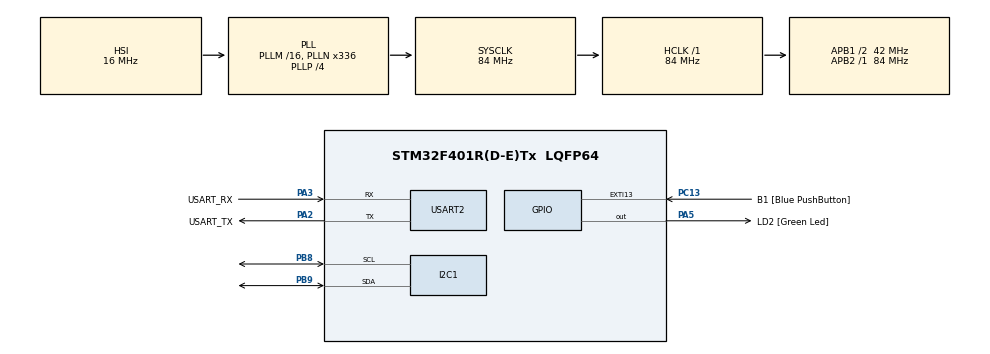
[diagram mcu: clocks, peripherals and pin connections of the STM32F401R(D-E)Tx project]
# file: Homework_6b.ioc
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Dma.Request0=USART2_TX
Dma.USART2_TX.0.Direction=DMA_MEMORY_TO_PERIPH
Dma.USART2_TX.0.FIFOMode=DMA_FIFOMODE_DISABLE
Dma.USART2_TX.0.Instance=DMA1_Stream6
Dma.USART2_TX.0.MemDataAlignment=DMA_MDATAALIGN_BYTE
Dma.USART2_TX.0.MemInc=DMA_MINC_ENABLE
Dma.USART2_TX.0.Mode=DMA_NORMAL
Dma.USART2_TX.0.PeriphDataAlignment=DMA_PDATAALIGN_BYTE
Dma.USART2_TX.0.PeriphInc=DMA_PINC_DISABLE
Dma.USART2_TX.0.Priority=DMA_PRIORITY_LOW
Mcu.Family=STM32F4
Mcu.Name=STM32F401R(D-E)Tx
Mcu.Package=LQFP64
NVIC.DMA1_Stream6_IRQn=true\:0\:0\:false\:false\:true\:false\:true\:true
NVIC.PriorityGroup=NVIC_PRIORITYGROUP_0
NVIC.TIM2_IRQn=true\:0\:0\:false\:false\:true\:true\:true\:true
NVIC.USART2_IRQn=true\:0\:0\:false\:false\:true\:true\:true\:true
PA13.GPIO_Label=TMS
PA13.Mode=Serial_Wire
PA13.Signal=SYS_JTMS-SWDIO
PA14.GPIO_Label=TCK
PA14.Mode=Serial_Wire
PA14.Signal=SYS_JTCK-SWCLK
PA2.GPIO_Label=USART_TX
PA2.GPIO_Mode=GPIO_MODE_AF_PP
PA2.GPIO_PuPd=GPIO_NOPULL
PA2.GPIO_Speed=GPIO_SPEED_FREQ_LOW
PA2.Mode=Asynchronous
PA2.Signal=USART2_TX
PA3.GPIO_Label=USART_RX
PA3.GPIO_Mode=GPIO_MODE_AF_PP
PA3.GPIO_PuPd=GPIO_NOPULL
PA3.GPIO_Speed=GPIO_SPEED_FREQ_LOW
PA3.Mode=Asynchronous
PA3.Signal=USART2_RX
PA5.GPIO_Label=LD2 [Green Led]
PA5.GPIO_Mode=GPIO_MODE_OUTPUT_PP
PA5.GPIO_PuPd=GPIO_NOPULL
PA5.GPIO_Speed=GPIO_SPEED_FREQ_LOW
PA5.Signal=GPIO_Output
PB3.GPIO_Label=SWO
PB3.Signal=SYS_JTDO-SWO
PB8.Mode=I2C
PB8.Signal=I2C1_SCL
PB9.Mode=I2C
PB9.Signal=I2C1_SDA
PC13-ANTI_TAMP.GPIO_Label=B1 [Blue PushButton]
PC13-ANTI_TAMP.GPIO_ModeDefaultEXTI=GPIO_MODE_IT_FALLING
PC13-ANTI_TAMP.GPIO_PuPd=GPIO_NOPULL
PC13-ANTI_TAMP.Signal=GPXTI13
PC14-OSC32_IN.Mode=LSE-External-Oscillator
PC14-OSC32_IN.Signal=RCC_OSC32_IN
PC15-OSC32_OUT.Mode=LSE-External-Oscillator
PC15-OSC32_OUT.Signal=RCC_OSC32_OUT
PH0\ -\ OSC_IN.Mode=HSE-External-Clock-Source
PH0\ -\ OSC_IN.Signal=RCC_OSC_IN
PH1\ -\ OSC_OUT.Mode=HSE-External-Clock-Source
PH1\ -\ OSC_OUT.Signal=RCC_OSC_OUT
ProjectManager.HeapSize=0x200
ProjectManager.StackSize=0x400
ProjectManager.TargetToolchain=STM32CubeIDE
RCC.48MHZClocksFreq_Value=48000000
RCC.AHBFreq_Value=84000000
RCC.APB1CLKDivider=RCC_HCLK_DIV2
RCC.APB1Freq_Value=42000000
RCC.APB1TimFreq_Value=84000000
RCC.APB2Freq_Value=84000000
RCC.APB2TimFreq_Value=84000000
RCC.CortexFreq_Value=84000000
RCC.HCLKFreq_Value=84000000
RCC.HSE_VALUE=8000000
RCC.HSI_VALUE=16000000
RCC.PLLN=336
RCC.PLLP=RCC_PLLP_DIV4
RCC.PLLQ=7
RCC.SYSCLKFreq_VALUE=84000000
RCC.SYSCLKSource=RCC_SYSCLKSOURCE_PLLCLK
RCC.VCOOutputFreq_Value=336000000
TIM2.Period=10000-1
TIM2.Prescaler=8400-1
USART2.VirtualMode=VM_ASYNC
VP_TIM2_VS_ClockSourceINT.Mode=Internal
board=NUCLEO-F401RE

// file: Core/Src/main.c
/* USER CODE BEGIN Header */
/**
  ******************************************************************************
  * @file           : main.c
  * @brief          : Main program body
  ******************************************************************************
  * @attention
  *
  * Copyright (c) 2023 STMicroelectronics.
  * All rights reserved.
  *
  * This software is licensed under terms that can be found in the LICENSE file
  * in the root directory of this software component.
  * If no LICENSE file comes with this software, it is provided AS-IS.
  *
  ******************************************************************************
  */
/* USER CODE END Header */
#include "main.h"

/* USER CODE BEGIN Includes */
# include "stdio.h"
/* USER CODE END Includes */

I2C_HandleTypeDef hi2c1;

TIM_HandleTypeDef htim2;

UART_HandleTypeDef huart2;
DMA_HandleTypeDef hdma_usart2_tx;

/* USER CODE BEGIN PV */
//LIS2DE
uint8_t ACCEL_ADD= 0b01010000;

//LIS2DE12
uint8_t LIS2DE12_ADD= 0b00110000;

//reg address,1Hz+normal mode+XYZ enabled
uint8_t CTRL_REG1[]={0x20,0b00010111};

//reg address,no HPF(default value at startup)
uint8_t CTRL_REG2[]={0x21,0b00000000};

//reg address,continuous update +2g FSR + self test disabled (default value at startup)
uint8_t CTRL_REG4[]={0x23,0b00000000};

uint8_t OUT_X_ADD=0x29;
uint8_t OUT_Y_ADD=0x2B;
uint8_t OUT_Z_ADD=0x2D;

char str[64];
int len=0;
/* USER CODE END PV */

void SystemClock_Config(void);
static void MX_GPIO_Init(void);
static void MX_DMA_Init(void);
static void MX_USART2_UART_Init(void);
static void MX_I2C1_Init(void);
static void MX_TIM2_Init(void);

/* USER CODE BEGIN 0 */
void HAL_TIM_PeriodElapsedCallback(TIM_HandleTypeDef *htim){
	if (htim==&htim2){
		//Get X
		int8_t acc_x=0;
		HAL_I2C_Master_Transmit(&hi2c1, ACCEL_ADD, &OUT_X_ADD, 1, 50);//I tell the variable i want to read
		HAL_I2C_Master_Receive(&hi2c1, ACCEL_ADD+1, (uint8_t *)&acc_x, 1, 50);

		//Get Y
		int8_t acc_y=0;
		HAL_I2C_Master_Transmit(&hi2c1, ACCEL_ADD, &OUT_Y_ADD, 1, 50);//I tell the variable i want to read
		HAL_I2C_Master_Receive(&hi2c1, ACCEL_ADD+1, (uint8_t *)&acc_y, 1, 50);

		//Get Z
		int8_t acc_z=0;
		HAL_I2C_Master_Transmit(&hi2c1, ACCEL_ADD, &OUT_Z_ADD, 1, 50);//I tell the variable i want to read
		HAL_I2C_Master_Receive(&hi2c1, ACCEL_ADD+1, (uint8_t *)&acc_z, 1, 50);

		//the resolution is 4/256
		float acc_g_x=acc_x/64.0;
		float acc_g_y=acc_y/64.0;
		float acc_g_z=acc_z/64.0;

		len=snprintf(str,sizeof(str),"X:%+.2f g\r\nY:%+.2f g\r\nZ:%+.2f g\r\n",acc_g_x,acc_g_y,acc_g_z);//+ says we want the sign printed

		HAL_UART_Transmit_DMA(&huart2, (uint8_t *) str, len);
	}
}
/* USER CODE END 0 */

int main(void)
{

  /* MCU Configuration--------------------------------------------------------*/

  /* Reset of all peripherals, Initializes the Flash interface and the Systick. */
  HAL_Init();

  /* Configure the system clock */
  SystemClock_Config();

  /* Initialize all configured peripherals */
  MX_GPIO_Init();
  MX_DMA_Init();
  MX_USART2_UART_Init();
  MX_I2C1_Init();
  MX_TIM2_Init();
  /* USER CODE BEGIN 2 */

  //initialize accelerometer

  if(HAL_I2C_Master_Transmit(&hi2c1, ACCEL_ADD, CTRL_REG1, sizeof(CTRL_REG1), 50)==HAL_OK){
	  len=snprintf(str,sizeof(str),"LIS2DE FOUND\r\n");
	  //there is a device with LIS2DE address
  }
  else{
	  //if not we change the address to the one of LIS2DE12 and try again
	  ACCEL_ADD=LIS2DE12_ADD;
	  if(HAL_I2C_Master_Transmit(&hi2c1, ACCEL_ADD, CTRL_REG1, sizeof(CTRL_REG1), 50)==HAL_OK){
		  len=snprintf(str,sizeof(str),"LIS2DE12 FOUND\r\n");
		  //there is a device with LIS2DE12 address
	  }
	  else{
		  len=snprintf(str,sizeof(str),"Accelerometer ERROR found\r\n");
		  //nothing found
	  }
  }

  HAL_UART_Transmit(&huart2, str, len, 100);

  //not needed since already at default configuration
  HAL_I2C_Master_Transmit(&hi2c1, ACCEL_ADD, CTRL_REG2, sizeof(CTRL_REG2), 50);
  HAL_I2C_Master_Transmit(&hi2c1, ACCEL_ADD, CTRL_REG4, sizeof(CTRL_REG4), 50);

  // Start timer
    HAL_TIM_Base_Start_IT(&htim2);

  /* USER CODE END 2 */

  /* Infinite loop */
  while (1)
  {

  }
}

void SystemClock_Config(void)
{
  RCC_OscInitTypeDef RCC_OscInitStruct = {0};
  RCC_ClkInitTypeDef RCC_ClkInitStruct = {0};

  /** Configure the main internal regulator output voltage
  */
  __HAL_RCC_PWR_CLK_ENABLE();
  __HAL_PWR_VOLTAGESCALING_CONFIG(PWR_REGULATOR_VOLTAGE_SCALE2);

  /** Initializes the RCC Oscillators according to the specified parameters
  * in the RCC_OscInitTypeDef structure.
  */
  RCC_OscInitStruct.OscillatorType = RCC_OSCILLATORTYPE_HSI;
  RCC_OscInitStruct.HSIState = RCC_HSI_ON;
  RCC_OscInitStruct.HSICalibrationValue = RCC_HSICALIBRATION_DEFAULT;
  RCC_OscInitStruct.PLL.PLLState = RCC_PLL_ON;
  RCC_OscInitStruct.PLL.PLLSource = RCC_PLLSOURCE_HSI;
  RCC_OscInitStruct.PLL.PLLM = 16;
  RCC_OscInitStruct.PLL.PLLN = 336;
  RCC_OscInitStruct.PLL.PLLP = RCC_PLLP_DIV4;
  RCC_OscInitStruct.PLL.PLLQ = 7;
  if (HAL_RCC_OscConfig(&RCC_OscInitStruct) != HAL_OK)
  {
    Error_Handler();
  }

  /** Initializes the CPU, AHB and APB buses clocks
  */
  RCC_ClkInitStruct.ClockType = RCC_CLOCKTYPE_HCLK|RCC_CLOCKTYPE_SYSCLK
                              |RCC_CLOCKTYPE_PCLK1|RCC_CLOCKTYPE_PCLK2;
  RCC_ClkInitStruct.SYSCLKSource = RCC_SYSCLKSOURCE_PLLCLK;
  RCC_ClkInitStruct.AHBCLKDivider = RCC_SYSCLK_DIV1;
  RCC_ClkInitStruct.APB1CLKDivider = RCC_HCLK_DIV2;
  RCC_ClkInitStruct.APB2CLKDivider = RCC_HCLK_DIV1;

  if (HAL_RCC_ClockConfig(&RCC_ClkInitStruct, FLASH_LATENCY_2) != HAL_OK)
  {
    Error_Handler();
  }
}

static void MX_I2C1_Init(void)
{

  hi2c1.Instance = I2C1;
  hi2c1.Init.ClockSpeed = 100000;
  hi2c1.Init.DutyCycle = I2C_DUTYCYCLE_2;
  hi2c1.Init.OwnAddress1 = 0;
  hi2c1.Init.AddressingMode = I2C_ADDRESSINGMODE_7BIT;
  hi2c1.Init.DualAddressMode = I2C_DUALADDRESS_DISABLE;
  hi2c1.Init.OwnAddress2 = 0;
  hi2c1.Init.GeneralCallMode = I2C_GENERALCALL_DISABLE;
  hi2c1.Init.NoStretchMode = I2C_NOSTRETCH_DISABLE;
  if (HAL_I2C_Init(&hi2c1) != HAL_OK)
  {
    Error_Handler();
  }

}

static void MX_TIM2_Init(void)
{

  TIM_ClockConfigTypeDef sClockSourceConfig = {0};
  TIM_MasterConfigTypeDef sMasterConfig = {0};

  htim2.Instance = TIM2;
  htim2.Init.Prescaler = 8400-1;
  htim2.Init.CounterMode = TIM_COUNTERMODE_UP;
  htim2.Init.Period = 10000-1;
  htim2.Init.ClockDivision = TIM_CLOCKDIVISION_DIV1;
  htim2.Init.AutoReloadPreload = TIM_AUTORELOAD_PRELOAD_DISABLE;
  if (HAL_TIM_Base_Init(&htim2) != HAL_OK)
  {
    Error_Handler();
  }
  sClockSourceConfig.ClockSource = TIM_CLOCKSOURCE_INTERNAL;
  if (HAL_TIM_ConfigClockSource(&htim2, &sClockSourceConfig) != HAL_OK)
  {
    Error_Handler();
  }
  sMasterConfig.MasterOutputTrigger = TIM_TRGO_RESET;
  sMasterConfig.MasterSlaveMode = TIM_MASTERSLAVEMODE_DISABLE;
  if (HAL_TIMEx_MasterConfigSynchronization(&htim2, &sMasterConfig) != HAL_OK)
  {
    Error_Handler();
  }

}

static void MX_USART2_UART_Init(void)
{

  huart2.Instance = USART2;
  huart2.Init.BaudRate = 115200;
  huart2.Init.WordLength = UART_WORDLENGTH_8B;
  huart2.Init.StopBits = UART_STOPBITS_1;
  huart2.Init.Parity = UART_PARITY_NONE;
  huart2.Init.Mode = UART_MODE_TX_RX;
  huart2.Init.HwFlowCtl = UART_HWCONTROL_NONE;
  huart2.Init.OverSampling = UART_OVERSAMPLING_16;
  if (HAL_UART_Init(&huart2) != HAL_OK)
  {
    Error_Handler();
  }

}

static void MX_DMA_Init(void)
{

  /* DMA controller clock enable */
  __HAL_RCC_DMA1_CLK_ENABLE();

  /* DMA interrupt init */
  /* DMA1_Stream6_IRQn interrupt configuration */
  HAL_NVIC_SetPriority(DMA1_Stream6_IRQn, 0, 0);
  HAL_NVIC_EnableIRQ(DMA1_Stream6_IRQn);

}

static void MX_GPIO_Init(void)
{
  GPIO_InitTypeDef GPIO_InitStruct = {0};

  /* GPIO Ports Clock Enable */
  __HAL_RCC_GPIOC_CLK_ENABLE();
  __HAL_RCC_GPIOH_CLK_ENABLE();
  __HAL_RCC_GPIOA_CLK_ENABLE();
  __HAL_RCC_GPIOB_CLK_ENABLE();

  /*Configure GPIO pin Output Level */
  HAL_GPIO_WritePin(LD2_GPIO_Port, LD2_Pin, GPIO_PIN_RESET);

  /*Configure GPIO pin : B1_Pin */
  GPIO_InitStruct.Pin = B1_Pin;
  GPIO_InitStruct.Mode = GPIO_MODE_IT_FALLING;
  GPIO_InitStruct.Pull = GPIO_NOPULL;
  HAL_GPIO_Init(B1_GPIO_Port, &GPIO_InitStruct);

  /*Configure GPIO pin : LD2_Pin */
  GPIO_InitStruct.Pin = LD2_Pin;
  GPIO_InitStruct.Mode = GPIO_MODE_OUTPUT_PP;
  GPIO_InitStruct.Pull = GPIO_NOPULL;
  GPIO_InitStruct.Speed = GPIO_SPEED_FREQ_LOW;
  HAL_GPIO_Init(LD2_GPIO_Port, &GPIO_InitStruct);

}

void Error_Handler(void)
{
  __disable_irq();
  while (1)
  {
  }
}
